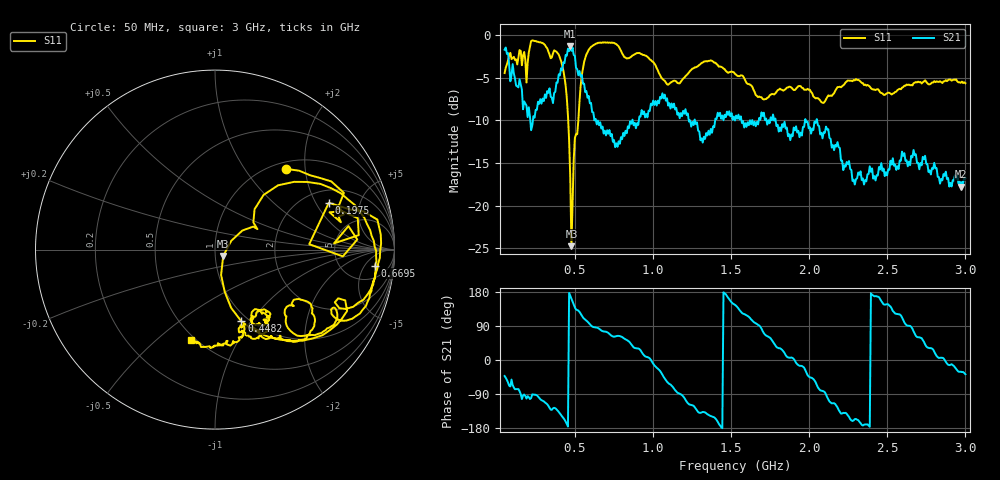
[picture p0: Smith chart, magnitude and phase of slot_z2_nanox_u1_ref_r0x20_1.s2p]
! nanovna_capture.py 2026-10-26T21:30:44+0900
! NanoVNA-F_V2 fw 0.6.0 SN 4A3639384505514B
! cal: load open short thru cal'ed  over 50000000-3000000000 Hz, 201 points
! points 401, avg 4
! slot line z=1.6, genuine Nano X, 0 deg, moved 20 mm across the slot toward SIG
# HZ S RI R 50
! S12 and S22 are not measured (written as 0)
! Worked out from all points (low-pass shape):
!   401 points, 50 MHz to 3 GHz, reference 50 ohm
!   highest |S21| = -1.31 dB at 470.4 MHz (marker M1); lowest = -17.8 dB at 2.97 GHz (marker M2)
!   |S21| within 3 dB of the highest: start of sweep to 82.39 MHz; 407.8 MHz to 517.7 MHz (109.9 MHz wide, 23.7 % of centre) (the widest 2 of 4)
!   lowest |S11| = -24.7 dB at 477.8 MHz (marker M3), VSWR 1.12, Z = 54.6 - j3.93 ohm
!   |S11| at or under -10 dB: 457 MHz to 522.1 MHz (65.09 MHz wide, 13.3 % of centre)
!   S12 and S22 are empty: the file has one direction only
!   S11 on the Smith chart (normalised r, x): 50 MHz: 1.12, +1.58; 197.5 MHz: 2.62, +2.58; 448.2 MHz: 0.92, -0.90; 669.5 MHz: 10, -9; 3 GHz: 0.47, -0.66
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5e7  0.3928 0.4505  0.6052 -0.5517  0 0  0 0
9.425e7  0.6839 0.2286  0.3608 -0.4559  0 0  0 0
1.975e8  0.634 0.2608  -0.031 -0.3288  0 0  0 0
2.4175e8  0.9201 -0.00732  -0.00723 -0.3275  0 0  0 0
3.745e8  0.7066 -0.3854  -0.2825 -0.3686  0 0  0 0
4.4825e8  0.147 -0.3999  -0.7413 -0.1475  0 0  0 0
4.70375e8  0.0339 -0.1415  -0.8454 0.156  0 0  0 0
4.7775e8  0.0456 -0.0359  -0.7671 0.2491  0 0  0 0
5.44125e8  0.4409 0.3776  -0.2621 0.5195  0 0  0 0
5.9575e8  0.8067 0.211  -0.0307 0.3963  0 0  0 0
6.695e8  0.8928 -0.0894  0.0605 0.2763  0 0  0 0
7.80125e8  0.7647 -0.385  0.1059 0.2134  0 0  0 0
1.03825e9  0.4062 -0.4366  0.3582 -0.172  0 0  0 0
1.207875e9  0.4979 -0.2838  -0.0933 -0.3553  0 0  0 0
1.525e9  0.3262 -0.4934  -0.2601 0.1787  0 0  0 0
1.694625e9  0.2288 -0.3655  0.0435 0.3493  0 0  0 0
1.842125e9  0.3004 -0.3705  0.2939 0.0983  0 0  0 0
2.019125e9  0.2043 -0.4072  0.1904 -0.2089  0 0  0 0
2.196125e9  0.2868 -0.4058  -0.1585 -0.149  0 0  0 0
2.51325e9  0.1484 -0.433  -0.1302 0.0968  0 0  0 0
2.9705e9  -0.0992 -0.5146  0.1108 -0.0663  0 0  0 0
3e9  -0.133 -0.504  0.1148 -0.0885  0 0  0 0
